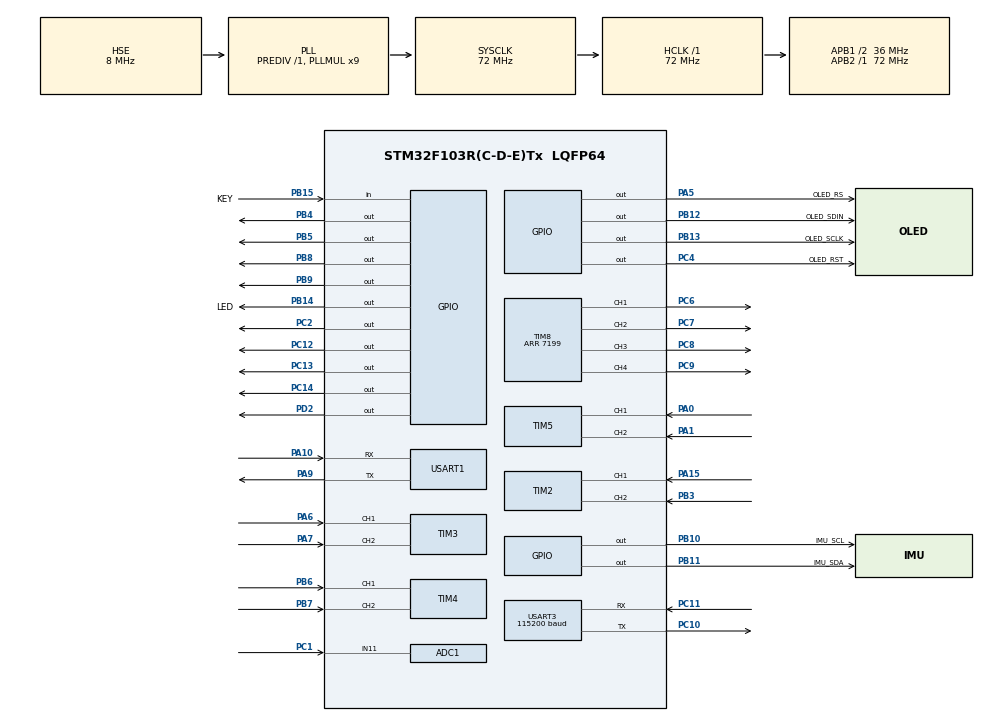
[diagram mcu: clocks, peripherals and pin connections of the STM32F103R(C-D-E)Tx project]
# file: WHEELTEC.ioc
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ADC1.Channel-0\#ChannelRegularConversion=ADC_CHANNEL_11
ADC1.EnableAnalogWatchDog=false
ADC1.EnableInjectedConversion=DISABLE
ADC1.InjNumberOfConversion=0
ADC1.NbrOfConversionFlag=1
ADC1.Rank-0\#ChannelRegularConversion=1
ADC1.SamplingTime-0\#ChannelRegularConversion=ADC_SAMPLETIME_1CYCLE_5
ADC1.master=1
Mcu.Family=STM32F1
Mcu.Name=STM32F103R(C-D-E)Tx
Mcu.Package=LQFP64
NVIC.PriorityGroup=NVIC_PRIORITYGROUP_2
NVIC.TIM6_IRQn=true\:2\:1\:true\:false\:true\:true\:true\:true
NVIC.USART1_IRQn=true\:1\:1\:true\:false\:true\:true\:true\:true
NVIC.USART3_IRQn=true\:1\:1\:true\:false\:true\:true\:true\:true
PA0-WKUP.Signal=S_TIM5_CH1
PA1.Signal=S_TIM5_CH2
PA10.Mode=Asynchronous
PA10.Signal=USART1_RX
PA13.Mode=Serial_Wire
PA13.Signal=SYS_JTMS-SWDIO
PA14.Mode=Serial_Wire
PA14.Signal=SYS_JTCK-SWCLK
PA15.Signal=S_TIM2_CH1_ETR
PA5.GPIO_Label=OLED_RS
PA5.GPIO_Speed=GPIO_SPEED_FREQ_HIGH
PA5.Signal=GPIO_Output
PA6.Signal=S_TIM3_CH1
PA7.Signal=S_TIM3_CH2
PA9.Mode=Asynchronous
PA9.Signal=USART1_TX
PB10.GPIO_Label=IMU_SCL
PB10.GPIO_Speed=GPIO_SPEED_FREQ_HIGH
PB10.Signal=GPIO_Output
PB11.GPIO_Label=IMU_SDA
PB11.GPIO_Speed=GPIO_SPEED_FREQ_HIGH
PB11.Signal=GPIO_Output
PB12.GPIO_Label=OLED_SDIN
PB12.GPIO_ModeDefaultOutputPP=GPIO_MODE_OUTPUT_PP
PB12.GPIO_PuPd=GPIO_NOPULL
PB12.GPIO_Speed=GPIO_SPEED_FREQ_HIGH
PB12.Signal=GPIO_Output
PB13.GPIO_Label=OLED_SCLK
PB13.GPIO_ModeDefaultOutputPP=GPIO_MODE_OUTPUT_PP
PB13.GPIO_PuPd=GPIO_NOPULL
PB13.GPIO_Speed=GPIO_SPEED_FREQ_HIGH
PB13.Signal=GPIO_Output
PB14.GPIO_Label=LED
PB14.GPIO_Speed=GPIO_SPEED_FREQ_HIGH
PB14.Signal=GPIO_Output
PB15.GPIO_Label=KEY
PB15.GPIO_PuPd=GPIO_PULLUP
PB15.Signal=GPIO_Input
PB3.Signal=S_TIM2_CH2
PB4.Signal=GPIO_Output
PB5.Signal=GPIO_Output
PB6.Signal=S_TIM4_CH1
PB7.Signal=S_TIM4_CH2
PB8.Signal=GPIO_Output
PB9.Signal=GPIO_Output
PC1.Signal=ADCx_IN11
PC10.Mode=Asynchronous
PC10.Signal=USART3_TX
PC11.Mode=Asynchronous
PC11.Signal=USART3_RX
PC12.Signal=GPIO_Output
PC13-TAMPER-RTC.Signal=GPIO_Output
PC14-OSC32_IN.Signal=GPIO_Output
PC2.Signal=GPIO_Output
PC4.GPIO_Label=OLED_RST
PC4.GPIO_ModeDefaultOutputPP=GPIO_MODE_OUTPUT_PP
PC4.GPIO_PuPd=GPIO_NOPULL
PC4.GPIO_Speed=GPIO_SPEED_FREQ_HIGH
PC4.Signal=GPIO_Output
PC6.Signal=S_TIM8_CH1
PC7.Signal=S_TIM8_CH2
PC8.Signal=S_TIM8_CH3
PC9.Signal=S_TIM8_CH4
PD0-OSC_IN.Mode=HSE-External-Oscillator
PD0-OSC_IN.Signal=RCC_OSC_IN
PD1-OSC_OUT.Mode=HSE-External-Oscillator
PD1-OSC_OUT.Signal=RCC_OSC_OUT
PD2.Signal=GPIO_Output
ProjectManager.HeapSize=0x200
ProjectManager.StackSize=0x400
ProjectManager.TargetToolchain=MDK-ARM V5
RCC.ADCPresc=RCC_ADCPCLK2_DIV6
RCC.AHBFreq_Value=72000000
RCC.APB1CLKDivider=RCC_HCLK_DIV2
RCC.APB1Freq_Value=36000000
RCC.APB1TimFreq_Value=72000000
RCC.APB2Freq_Value=72000000
RCC.APB2TimFreq_Value=72000000
RCC.HCLKFreq_Value=72000000
RCC.PLLMUL=RCC_PLL_MUL9
RCC.PLLSourceVirtual=RCC_PLLSOURCE_HSE
RCC.SYSCLKFreq_VALUE=72000000
RCC.SYSCLKSource=RCC_SYSCLKSOURCE_PLLCLK
RCC.USBFreq_Value=72000000
SH.ADCx_IN11.0=ADC1_IN11,IN11
SH.S_TIM2_CH1_ETR.0=TIM2_CH1,Encoder_Interface
SH.S_TIM2_CH2.0=TIM2_CH2,Encoder_Interface
SH.S_TIM3_CH1.0=TIM3_CH1,Encoder_Interface
SH.S_TIM3_CH2.0=TIM3_CH2,Encoder_Interface
SH.S_TIM4_CH1.0=TIM4_CH1,Encoder_Interface
SH.S_TIM4_CH2.0=TIM4_CH2,Encoder_Interface
SH.S_TIM5_CH1.0=TIM5_CH1,Encoder_Interface
SH.S_TIM5_CH2.0=TIM5_CH2,Encoder_Interface
SH.S_TIM8_CH1.0=TIM8_CH1,PWM Generation1 CH1
SH.S_TIM8_CH2.0=TIM8_CH2,PWM Generation2 CH2
SH.S_TIM8_CH3.0=TIM8_CH3,PWM Generation3 CH3
SH.S_TIM8_CH4.0=TIM8_CH4,PWM Generation4 CH4
TIM2.EncoderMode=TIM_ENCODERMODE_TI12
TIM2.IC1Filter=10
TIM2.IC2Filter=10
TIM3.EncoderMode=TIM_ENCODERMODE_TI12
TIM3.IC1Filter=10
TIM3.IC2Filter=10
TIM4.EncoderMode=TIM_ENCODERMODE_TI12
TIM4.IC1Filter=10
TIM4.IC2Filter=10
TIM5.EncoderMode=TIM_ENCODERMODE_TI12
TIM5.IC1Filter=10
TIM5.IC2Filter=10
TIM6.AutoReloadPreload=TIM_AUTORELOAD_PRELOAD_ENABLE
TIM6.Period=71
TIM6.Prescaler=9999
TIM8.AutoReloadPreload=TIM_AUTORELOAD_PRELOAD_ENABLE
TIM8.Channel-PWM\ Generation1\ CH1=TIM_CHANNEL_1
TIM8.Channel-PWM\ Generation2\ CH2=TIM_CHANNEL_2
TIM8.Channel-PWM\ Generation3\ CH3=TIM_CHANNEL_3
TIM8.Channel-PWM\ Generation4\ CH4=TIM_CHANNEL_4
TIM8.OCFastMode_PWM-PWM\ Generation1\ CH1=TIM_OCFAST_DISABLE
TIM8.Period=7199
TIM8.Pulse-PWM\ Generation1\ CH1=20
TIM8.Pulse-PWM\ Generation2\ CH2=20
TIM8.Pulse-PWM\ Generation3\ CH3=20
TIM8.Pulse-PWM\ Generation4\ CH4=20
USART1.VirtualMode=VM_ASYNC
USART3.BaudRate=115200
USART3.VirtualMode=VM_ASYNC
VP_TIM6_VS_ClockSourceINT.Mode=Enable_Timer
board=custom

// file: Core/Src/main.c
/* USER CODE BEGIN Header */
/**
  ******************************************************************************
  * @file           : main.c
  * @brief          : Main program body
  ******************************************************************************
  * @attention
  *
  * Copyright (c) 2025 STMicroelectronics.
  * All rights reserved.
  *
  * This software is licensed under terms that can be found in the LICENSE file
  * in the root directory of this software component.
  * If no LICENSE file comes with this software, it is provided AS-IS.
  *
  ******************************************************************************
  */
/* USER CODE END Header */
#include "main.h"
#include "adc.h"
#include "tim.h"
#include "usart.h"
#include "gpio.h"

/* USER CODE BEGIN Includes */
#include "sys.h"
#include "chassis_link.h"
#include "servo_output.h"
/* USER CODE END Includes */

void SystemClock_Config(void);

/* USER CODE BEGIN 0 */
//LED闪烁计数值
int Count=0;
//ADC读取值
u16 adc_val;
//电源电压值（放大了100倍）
u32 voltage;
//小车当前状态
u8 Car_Mode=0;
//小车轴距
float Axle_spacing = axlespacing;
//小车轮距
float Wheel_spacing = wheelspacing;
//PID parameters of Speed control
//p普通模式下的电机PID控制参数
float Velocity_KP=100,Velocity_KI=60;
//Vehicle three-axis target moving speed, unit: m/s
//小车三轴目标运动速度，单位：m/s
float Move_X, Move_Y, Move_Z;
//遥控控制的速度
float RC_Velocity=350;
//用于手机app的方向变量，顺时针一圈共8个方向，数值是1--8,停止时数值为0
u8 Flag_Direction;
//Sends the parameter's flag bit to the Bluetooth APP
//向蓝牙APP发送参数的标志位
u8 PID_Send;
//Bluetooth remote control associated flag bits
//蓝牙遥控相关的标志位
u8 Flag_Left, Flag_Right, Flag_Direction=0;
//ROS发送过来的通信协议帧
u8 Receive_Data[12];

pIMUInterface_t imu = &UserICM20948;
/* USER CODE END 0 */

int main(void)
{

  /* MCU Configuration--------------------------------------------------------*/

  /* Reset of all peripherals, Initializes the Flash interface and the Systick. */
  HAL_Init();

  /* Configure the system clock */
  SystemClock_Config();

  /* USER CODE BEGIN SysInit */
	delay_init(72);
  /* USER CODE END SysInit */

  /* Initialize all configured peripherals */
  MX_GPIO_Init();
  MX_USART1_UART_Init();
  MX_ADC1_Init();
  MX_TIM6_Init();
  MX_USART3_UART_Init();
  MX_TIM8_Init();
  MX_TIM2_Init();
  MX_TIM3_Init();
  MX_TIM4_Init();
  MX_TIM5_Init();
  /* USER CODE BEGIN 2 */
	ServoOutput_Init();
	ChassisLink_Init();
	HAL_ADCEx_Calibration_Start(&hadc1);
	OLED_Init();
	IMU_InitChecked();
	HAL_TIM_PWM_Start(&htim8,TIM_CHANNEL_1);//开启定时器8通道1的PWM输出
	HAL_TIM_PWM_Start(&htim8,TIM_CHANNEL_2);//开启定时器8通道1的PWM输出
	HAL_TIM_PWM_Start(&htim8,TIM_CHANNEL_3);//开启定时器8通道1的PWM输出
	HAL_TIM_PWM_Start(&htim8,TIM_CHANNEL_4);//开启定时器8通道1的PWM输出
	HAL_TIM_Encoder_Start(&htim2,TIM_CHANNEL_ALL);//开启定时器2的编码器模式
	HAL_TIM_Encoder_Start(&htim3,TIM_CHANNEL_ALL);//开启定时器3的编码器模式
	HAL_TIM_Encoder_Start(&htim4,TIM_CHANNEL_ALL);//开启定时器4的编码器模式
	HAL_TIM_Encoder_Start(&htim5,TIM_CHANNEL_ALL);//开启定时器5的编码器模式
	Motor_Init();
  /* USER CODE END 2 */

	/** @brief 启动 100 Hz 闭环，上电禁能，仅接受协议握手后的速度命令。 */
	HAL_TIM_Base_Start_IT(&htim6);

	/* Infinite loop */
  while (1)
  {

    /* USER CODE BEGIN 3 */
	Battery_Update();
	ChassisLink_Poll();
	Show();
  }
  /* USER CODE END 3 */
}

void SystemClock_Config(void)
{
  RCC_OscInitTypeDef RCC_OscInitStruct = {0};
  RCC_ClkInitTypeDef RCC_ClkInitStruct = {0};
  RCC_PeriphCLKInitTypeDef PeriphClkInit = {0};

  /** Initializes the RCC Oscillators according to the specified parameters
  * in the RCC_OscInitTypeDef structure.
  */
  RCC_OscInitStruct.OscillatorType = RCC_OSCILLATORTYPE_HSE;
  RCC_OscInitStruct.HSEState = RCC_HSE_ON;
  RCC_OscInitStruct.HSEPredivValue = RCC_HSE_PREDIV_DIV1;
  RCC_OscInitStruct.HSIState = RCC_HSI_ON;
  RCC_OscInitStruct.PLL.PLLState = RCC_PLL_ON;
  RCC_OscInitStruct.PLL.PLLSource = RCC_PLLSOURCE_HSE;
  RCC_OscInitStruct.PLL.PLLMUL = RCC_PLL_MUL9;
  if (HAL_RCC_OscConfig(&RCC_OscInitStruct) != HAL_OK)
  {
    Error_Handler();
  }

  /** Initializes the CPU, AHB and APB buses clocks
  */
  RCC_ClkInitStruct.ClockType = RCC_CLOCKTYPE_HCLK|RCC_CLOCKTYPE_SYSCLK
                              |RCC_CLOCKTYPE_PCLK1|RCC_CLOCKTYPE_PCLK2;
  RCC_ClkInitStruct.SYSCLKSource = RCC_SYSCLKSOURCE_PLLCLK;
  RCC_ClkInitStruct.AHBCLKDivider = RCC_SYSCLK_DIV1;
  RCC_ClkInitStruct.APB1CLKDivider = RCC_HCLK_DIV2;
  RCC_ClkInitStruct.APB2CLKDivider = RCC_HCLK_DIV1;

  if (HAL_RCC_ClockConfig(&RCC_ClkInitStruct, FLASH_LATENCY_2) != HAL_OK)
  {
    Error_Handler();
  }
  PeriphClkInit.PeriphClockSelection = RCC_PERIPHCLK_ADC;
  PeriphClkInit.AdcClockSelection = RCC_ADCPCLK2_DIV6;
  if (HAL_RCCEx_PeriphCLKConfig(&PeriphClkInit) != HAL_OK)
  {
    Error_Handler();
  }
}

void Error_Handler(void)
{
  __disable_irq();
  while (1)
  {
  }
}
